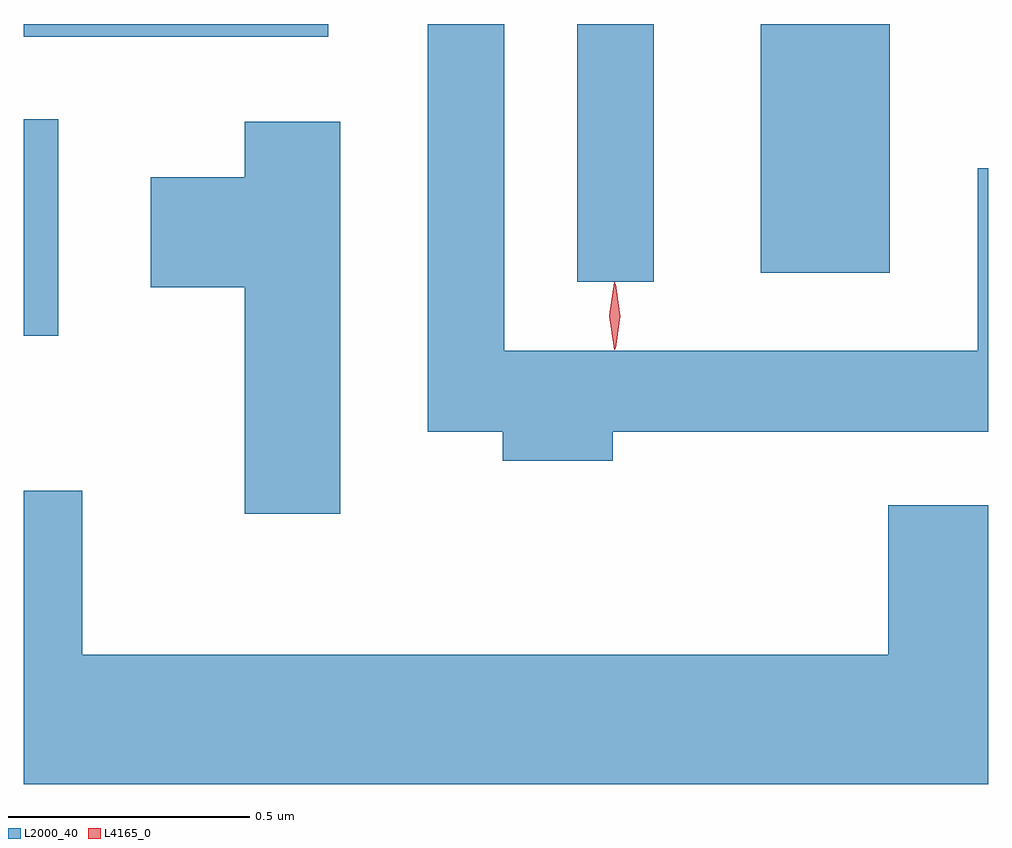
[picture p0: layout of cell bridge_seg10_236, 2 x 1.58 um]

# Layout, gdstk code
import gdstk
lib = gdstk.Library(unit=1e-6, precision=1e-09)
def R(c, l, rs):  # rectangles x0, y0, x1, y1
    for r in rs: c.add(gdstk.rectangle(r[:2], r[2:], *l))
def P(c, l, *ps):  # polygons
    for p in ps: c.add(gdstk.Polygon(p, *l))
L2000_40 = (2000, 40)
L4165_0 = (4165, 0)

bridge_seg10_236 = lib.new_cell('bridge_seg10_236')
R(bridge_seg10_236, L2000_40, [(1735.908,2090.426,1735.979,2090.874), (1737.056,2090.538,1737.214,2091.072), (1737.436,2090.556,1737.704,2091.072), (1735.908,2091.046,1736.539,2091.072)])
P(bridge_seg10_236, L2000_40, [(1737.129,2090.226),(1737.908,2090.226),(1737.908,2090.773),(1737.886,2090.773),(1737.886,2090.394),(1736.904,2090.394),(1736.904,2091.072),(1736.746,2091.072),(1736.746,2090.226),(1736.901,2090.226),(1736.901,2090.166),(1737.129,2090.166)],
  [(1736.564,2090.869),(1736.366,2090.869),(1736.366,2090.754),(1736.171,2090.754),(1736.171,2090.526),(1736.366,2090.526),(1736.366,2090.056),(1736.564,2090.056)],
  [(1737.908,2090.074),(1737.701,2090.074),(1737.701,2089.764),(1736.029,2089.764),(1736.029,2090.104),(1735.908,2090.104),(1735.908,2089.496),(1737.908,2089.496)])
P(bridge_seg10_236, L4165_0, [(1737.135,2090.399),(1737.134,2090.4),(1737.125,2090.466),(1737.134,2090.532),(1737.135,2090.533),(1737.136,2090.532),(1737.145,2090.466),(1737.136,2090.4)],
  [(1737.132,2090.397),(1737.132,2090.397),(1737.122,2090.467),(1737.132,2090.536),(1737.132,2090.536),(1737.133,2090.536),(1737.142,2090.467),(1737.133,2090.397)])

lib.write_gds('bridge_seg10_236.gds')
